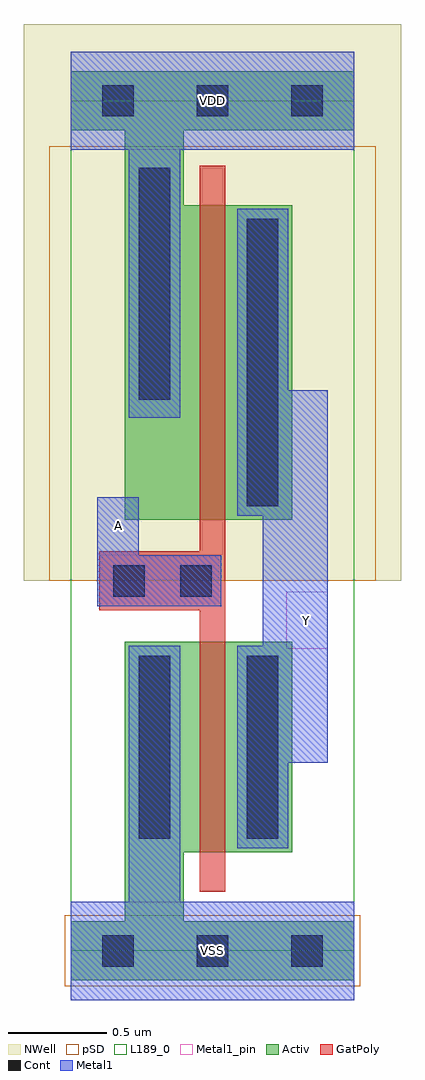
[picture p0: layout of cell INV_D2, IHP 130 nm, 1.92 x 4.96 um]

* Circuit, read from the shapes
.subckt INV_D2 A VDD VSS Y
XM1 Y A VSS VSS sg13_lv_nmos w=1.07u l=0.13u
XM2 Y A VDD VDD sg13_lv_pmos w=1.6u l=0.13u
.ends

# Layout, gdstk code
import gdstk
lib = gdstk.Library(unit=1e-6, precision=1e-09)
def R(c, l, rs):  # rectangles x0, y0, x1, y1
    for r in rs: c.add(gdstk.rectangle(r[:2], r[2:], *l))
def A(c, l, x, y, w, h, nx, ny, dx, dy):  # array of equal rectangles
    R(c, l, [(x+i*dx, y+j*dy, x+i*dx+w, y+j*dy+h) for i in range(nx) for j in range(ny)])
def P(c, l, *ps):  # polygons
    for p in ps: c.add(gdstk.Polygon(p, *l))
Activ = (1, 0)
GatPoly = (5, 0)
Cont = (6, 0)
Metal1 = (8, 0)
Metal1_pin = (8, 2)
pSD = (14, 0)
NWell = (31, 0)
L189_0 = (189, 0)

inv_d2 = lib.new_cell('INV_D2')
P(inv_d2, Activ, [(0,4.17),(0.275,4.17),(0.275,2.19),(1.125,2.19),(1.125,3.79),(0.575,3.79),(0.575,4.17),(1.44,4.17),(1.44,4.47),(0,4.47)],
  [(0.275,1.57),(0.275,0.15),(0,0.15),(0,-0.15),(1.44,-0.15),(1.44,0.15),(0.575,0.15),(0.575,0.5),(1.125,0.5),(1.125,1.57)])
P(inv_d2, GatPoly, [(0.655,3.99),(0.655,2.03),(0.145,2.03),(0.145,1.73),(0.655,1.73),(0.655,0.3),(0.785,0.3),(0.785,3.99)])
A(inv_d2, Cont, 0.16, -0.08, 0.16, 0.16, 3, 2, 0.48, 4.32)
R(inv_d2, Cont, [(0.345,0.57,0.505,1.5), (0.895,0.57,1.055,1.5), (0.215,1.8,0.375,1.96), (0.555,1.8,0.715,1.96), (0.895,2.26,1.055,3.72), (0.345,2.8,0.505,3.98)])
P(inv_d2, Metal1, [(0.555,2.71),(0.555,4.07),(1.44,4.07),(1.44,4.57),(0,4.57),(0,4.07),(0.295,4.07),(0.295,2.71)],
  [(1.305,0.955),(1.305,2.85),(1.105,2.85),(1.105,3.77),(0.845,3.77),(0.845,2.21),(0.975,2.21),(0.975,1.55),(0.845,1.55),(0.845,0.52),(1.105,0.52),(1.105,0.955)],
  [(0.765,1.75),(0.765,2.01),(0.345,2.01),(0.345,2.305),(0.135,2.305),(0.135,1.75)],
  [(0,-0.25),(1.44,-0.25),(1.44,0.25),(0.555,0.25),(0.555,1.55),(0.295,1.55),(0.295,0.25),(0,0.25)])
R(inv_d2, Metal1_pin, [(0,-0.25,1.44,0.25), (1.095,1.535,1.305,1.825), (0.135,2.01,0.345,2.305), (0,4.07,1.44,4.57)])
R(inv_d2, pSD, [(-0.03,-0.18,1.47,0.18), (-0.11,1.88,1.55,4.09)])
R(inv_d2, NWell, [(-0.24,1.88,1.68,4.71)])
R(inv_d2, L189_0, [(0,0,1.44,4.32)])
inv_d2.add(gdstk.Label('VDD', (0.72,4.32), layer=8, texttype=25))
inv_d2.add(gdstk.Label('VSS', (0.72,0), layer=8, texttype=25))
inv_d2.add(gdstk.Label('Y', (1.2,1.68), layer=8, texttype=25))
inv_d2.add(gdstk.Label('A', (0.24,2.16), layer=8, texttype=25))

lib.write_gds('INV_D2.gds')
